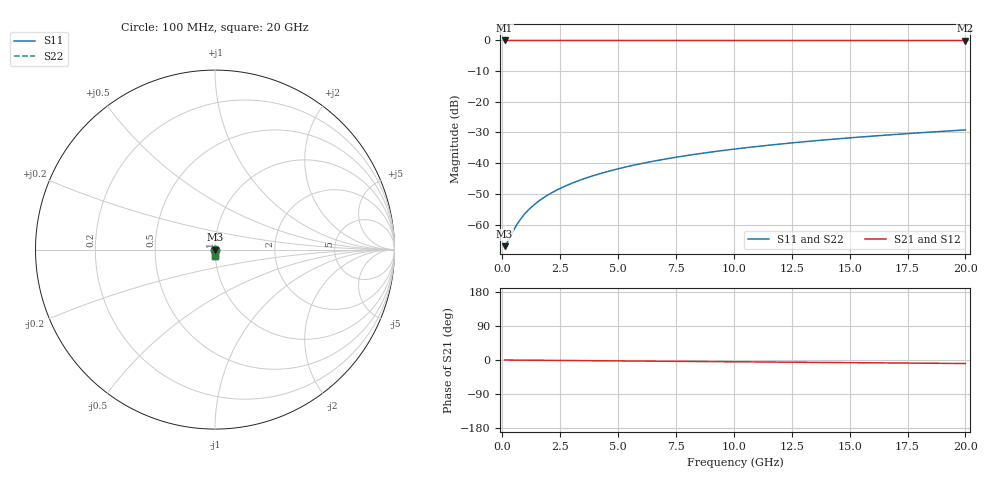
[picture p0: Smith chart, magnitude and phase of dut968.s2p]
! Touchstone file exported from HFSS 2026.1.0
!  File:  C:/ffzhzh/LocalFiles/Ansys_Project_Files/temp_train_TSV_968_1783187681_22436.aedt
!  Generated:  01:56:26 AM Jul  5, 2026
!  Design:  TSV
!  Project:  temp_train_TSV_968_1783187681_22436
! Variables:
!  h_bsmrdl = 2um
!  h_ox = 20um
!  h_rdl = 5um
!  h_sub = 99.86um
!  h_tmrdl = 5um
!  h_tsv = 99.86um
!  h_via = 3um
!  l_bsmrdl = 300um
!  l_sub = 410.86um
!  l_tmrdl = 200um
!  m_sub = 200um
!  pitch = 18um
!  r_tsv = 5.43um
!  s_tmrdl = 10um
!  w_bsmrdl = 18um
!  w_sub = 500um
!  w_tmrdl = 12um
!  x_tsv_center1 = 206um
!  x_tsv_center2 = 524um
!  x_tsv_center3 = 736um
!  x_tsv_center4 = 1054um
!  x_tsv_center5 = 1266um
!  x_tsv_center6 = 1584um
# GHz S MA R 50.000000
! Terminal data exported
! Port[1] = TSV1_1_T1
! Port[2] = TSV1_1_T2
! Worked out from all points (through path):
!   200 points, 100 MHz to 20 GHz, reference 50 ohm
!   highest |S21| = 0.00 dB at 100 MHz (marker M1); lowest = 0.0 dB at 20 GHz (marker M2)
!   group delay of S21, straight-line fit = 1.28 ps
!   lowest |S11| = -67.1 dB at 100 MHz (marker M3), VSWR 1.00, Z = 50 - j0.00962 ohm
!   |S11| at or under -10 dB: start of sweep to end of sweep
!   |S22| runs from -67.1 to -29.2 dB; largest |S21 - S12| = 2.2e-15
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0.1  0.0004435 -12.5  0.9996 -0.1  0.9996 -0.1  0.0004435 -12.5
! Gamma 0 0 0 0
! Port Impedance 50 0 50 0
0.2  0.0005012 -23.7  0.9995 -0.1  0.9995 -0.1  0.0005012 -23.7
0.5  0.0008215 -46.2  0.9994 -0.2  0.9994 -0.2  0.0008215 -46.2
0.6  0.0009548 -51.0  0.9994 -0.3  0.9994 -0.3  0.0009548 -51.0
0.8  0.001238 -58.2  0.9993 -0.4  0.9993 -0.4  0.001238 -58.2
0.9  0.001385 -60.9  0.9993 -0.4  0.9993 -0.4  0.001385 -60.9
1.1  0.001685 -65.1  0.9993 -0.5  0.9993 -0.5  0.001685 -65.1
1.4  0.002143 -69.4  0.9992 -0.7  0.9992 -0.7  0.002143 -69.4
1.8  0.002765 -73.1  0.9991 -0.9  0.9991 -0.9  0.002765 -73.1
2.3  0.003559 -75.9  0.9991 -1.1  0.9991 -1.1  0.003559 -75.9
2.9  0.004534 -78.1  0.9989 -1.4  0.9989 -1.4  0.004534 -78.1
3.5  0.00553 -79.7  0.9988 -1.7  0.9988 -1.7  0.00553 -79.7
4.2  0.006714 -81.0  0.9987 -2.0  0.9987 -2.0  0.006714 -81.0
5  0.008091 -82.3  0.9986 -2.4  0.9986 -2.4  0.008091 -82.3
5.9  0.009661 -83.6  0.9984 -2.8  0.9984 -2.8  0.009661 -83.6
6.8  0.01124 -84.6  0.9983 -3.2  0.9983 -3.2  0.01124 -84.6
8.3  0.0139 -86.2  0.9981 -3.9  0.9981 -3.9  0.0139 -86.2
10.1  0.0171 -87.9  0.9978 -4.7  0.9978 -4.7  0.0171 -87.9
11.7  0.01995 -89.2  0.9976 -5.5  0.9976 -5.5  0.01995 -89.2
13.4  0.02299 -90.4  0.9974 -6.2  0.9974 -6.2  0.02299 -90.4
16.7  0.02889 -92.6  0.997 -7.8  0.997 -7.8  0.02889 -92.6
20  0.03481 -94.5  0.9965 -9.3  0.9965 -9.3  0.03481 -94.5
